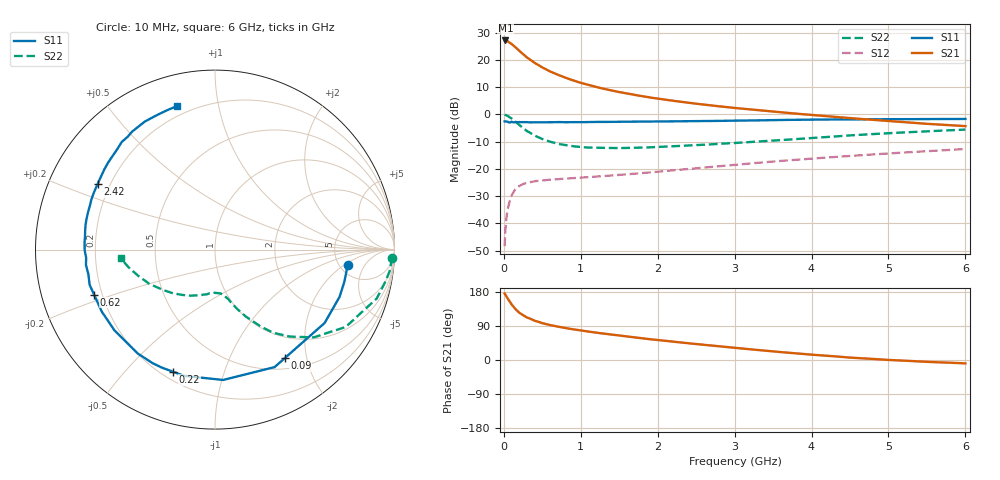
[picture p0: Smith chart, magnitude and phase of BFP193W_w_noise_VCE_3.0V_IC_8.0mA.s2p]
! Infineon Technologies  Discrete & RF Semiconductors
! BFP193W
! VCE = 3.0 V,  IC =  8.0 mA
! Common Emitter S-Parameters:  Jan 2016
# GHz  S  MA  R  50
!  f  S11  S21  S12  S22
! GHz  MAG  ANG  MAG  ANG  MAG  ANG  MAG  ANG
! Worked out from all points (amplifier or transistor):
!   210 points, 10 MHz to 6 GHz, reference 50 ohm
!   highest |S21| = 27.2 dB at 20 MHz (marker M1)
!   |S21| within 3 dB of that: start of sweep to 170.1 MHz
!   unconditionally stable (mu >= 1): 1.426 GHz to 4.257 GHz
!   at 185 MHz: K = 0.18, MSG = 25.2 dB, |S12| = -26.7 dB
!   at 1.52 GHz: K = 1.03, MAG = 14.1 dB, |S12| = -22.2 dB
!   at 6 GHz: K = 0.92, MSG = 4.2 dB, |S12| = -12.7 dB
!   lowest NFmin = 1.25 dB at 450 MHz
!   S11 on the Smith chart (normalised r, x): 10 MHz: 5.88, -2.33; 90 MHz: 0.65, -1.63; 220 MHz: 0.24, -0.69; 620 MHz: 0.17, -0.17; 2.42 GHz: 0.15, +0.26; 6 GHz: 0.15, +0.76
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0.01  0.7445 -6.8  22.84 175.5  0.0038 88.0  0.9873 -2.6
0.02  0.7426 -14.0  22.84 172.7  0.0075 82.4  0.9804 -7.0
0.05  0.735 -33.8  22.1 162.0  0.0182 75.0  0.9415 -16.8
0.09  0.719 -57.4  20.11 150.0  0.0293 62.7  0.8611 -27.6
0.1  0.734 -63.1  19.76 146.7  0.0322 61.0  0.8463 -30.6
0.15  0.7278 -86.4  17.2 134.2  0.0424 50.8  0.7362 -41.6
0.2  0.7242 -103.8  14.76 124.8  0.0483 44.1  0.639 -49.3
0.22  0.7197 -109.0  13.96 122.2  0.05 41.9  0.6075 -51.5
0.26  0.7219 -118.7  12.47 116.8  0.0533 38.1  0.5488 -56.0
0.3  0.7215 -126.6  11.15 112.1  0.0556 35.5  0.4966 -59.4
0.4  0.7185 -141.2  8.854 103.6  0.0592 31.1  0.4089 -65.4
0.5  0.7193 -151.3  7.289 97.2  0.0615 29.1  0.3531 -69.5
0.62  0.719 -159.6  6.003 91.5  0.0635 28.4  0.3101 -72.9
0.8  0.7186 -169.2  4.71 84.3  0.066 28.8  0.2727 -76.9
1.02  0.7205 -177.0  3.732 77.4  0.0692 30.1  0.2507 -81.5
1.48  0.7331 170.3  2.61 65.0  0.077 34.8  0.2408 -90.4
2.02  0.7428 158.3  1.933 52.3  0.0892 39.7  0.2539 -100.8
2.42  0.7494 150.7  1.622 43.7  0.0999 42.1  0.2703 -109.1
3.1  0.7704 138.9  1.275 30.3  0.122 44.1  0.3045 -123.5
4.1  0.8046 123.8  0.952 12.7  0.1579 42.5  0.3755 -144.6
5.1  0.8169 112.6  0.738 -0.7  0.1957 38.6  0.4594 -162.7
6  0.8263 105.0  0.61 -8.9  0.2316 34.2  0.5265 -174.6
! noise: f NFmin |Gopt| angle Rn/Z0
0.45  1.25  0.23  133  0.12
0.9  1.3  0.35  156  0.11
1.8  2  0.55  -155  0.13
